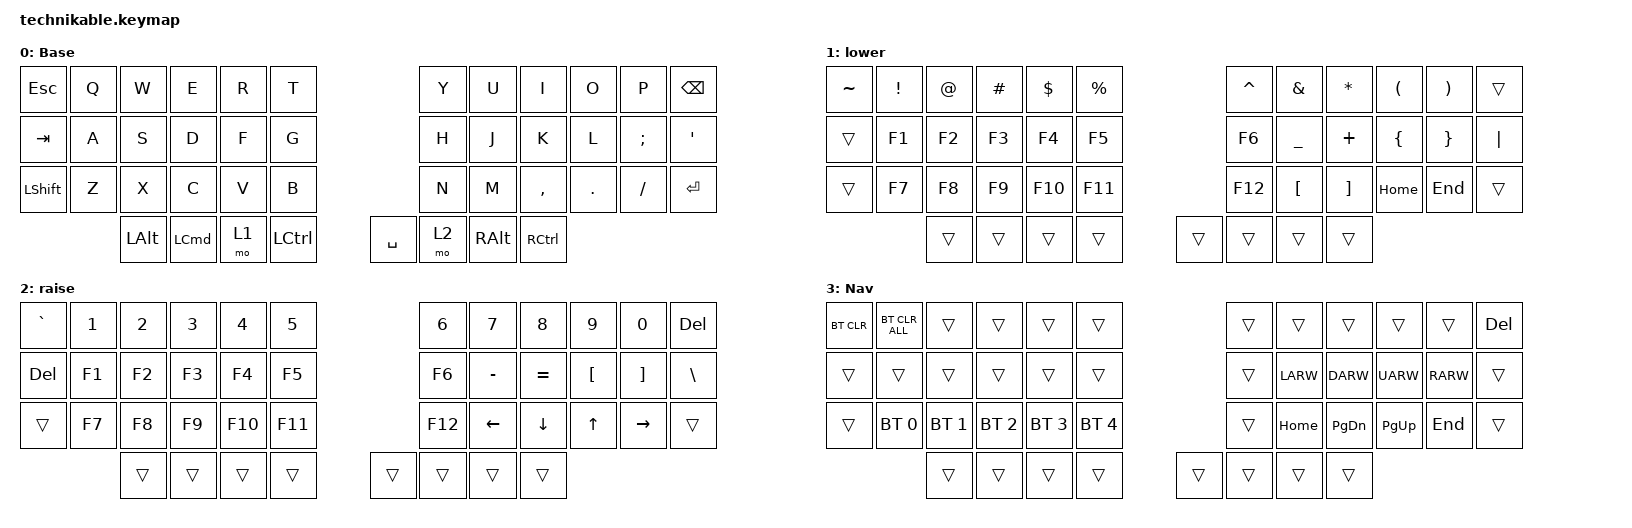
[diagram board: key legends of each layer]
/*
 * Copyright (c) 2022 Pete Johanson
 *
 * SPDX-License-Identifier: MIT
 */

#include <behaviors.dtsi>
#include <dt-bindings/zmk/bt.h>
#include <dt-bindings/zmk/keys.h>

#define BAS_L 0
#define NAV_L 1
#define NUM_L 2
#define SYM_L 3

// Using layer taps on thumbs, having quick tap as well helps w/ repeating space/backspace

&lt { quick_tap_ms = <200>; };

/ {
    chosen { zmk,matrix_transform = &ortho_transform; };

    conditional_layers {
        compatible = "zmk,conditional-layers";

        adj {
            if-layers = <1 2>;
            then-layer = <3>;
        };
    };

    keymap {
        compatible = "zmk,keymap";

        base_layer {
            label = "Base";
            bindings = <
&kp ESC    &kp Q  &kp W         &kp E     &kp R  &kp T                        &kp Y  &kp U     &kp I      &kp O    &kp P     &kp BACKSPACE
&kp TAB    &kp A  &kp S         &kp D     &kp F  &kp G                        &kp H  &kp J     &kp K      &kp L    &kp SEMI  &kp SINGLE_QUOTE
&kp LSHFT  &kp Z  &kp X         &kp C     &kp V  &kp B                        &kp N  &kp M     &kp COMMA  &kp DOT  &kp FSLH  &kp RET
                  &kp LEFT_ALT  &kp LCMD  &mo 1  &kp LEFT_CONTROL  &kp SPACE  &mo 2  &kp RALT  &kp RCTRL
            >;
        };

        lower {
            bindings = <
&kp TILDE  &kp EXCLAMATION  &kp AT_SIGN  &kp HASH  &kp DOLLAR  &kp PRCNT          &kp CARET  &kp AMPS          &kp ASTRK  &kp LPAR  &kp RPAR  &trans
&trans     &kp F1           &kp F2       &kp F3    &kp F4      &kp F5             &kp F6     &kp UNDER         &kp PLUS   &kp LBRC  &kp RBRC  &kp PIPE
&trans     &kp F7           &kp F8       &kp F9    &kp F10     &kp F11            &kp F12    &kp LEFT_BRACKET  &kp RBKT   &kp HOME  &kp END   &trans
                            &trans       &trans    &trans      &trans     &trans  &trans     &trans            &trans
            >;
        };

        raise {
            bindings = <
&kp GRAVE   &kp NUMBER_1  &kp NUMBER_2  &kp NUMBER_3  &kp NUMBER_4  &kp N5           &kp NUMBER_6  &kp N7     &kp N8     &kp N9            &kp N0             &kp DELETE
&kp DELETE  &kp F1        &kp F2        &kp F3        &kp F4        &kp F5           &kp F6        &kp MINUS  &kp EQUAL  &kp LEFT_BRACKET  &kp RIGHT_BRACKET  &kp BACKSLASH
&trans      &kp F7        &kp F8        &kp F9        &kp F10       &kp F11          &kp F12       &kp LEFT   &kp DOWN   &kp UP_ARROW      &kp RIGHT          &trans
                          &trans        &trans        &trans        &trans   &trans  &trans        &trans     &trans
            >;
        };

        Nav {
            label = "Nav";
            bindings = <
&bt BT_CLR  &bt BT_CLR_ALL  &trans        &trans        &trans        &trans                &trans  &trans    &trans     &trans     &trans    &kp DEL
&trans      &trans          &trans        &trans        &trans        &trans                &trans  &kp LARW  &kp DARW   &kp UARW   &kp RARW  &trans
&trans      &bt BT_SEL 0    &bt BT_SEL 1  &bt BT_SEL 2  &bt BT_SEL 3  &bt BT_SEL 4          &trans  &kp HOME  &kp PG_DN  &kp PG_UP  &kp END   &trans
                            &trans        &trans        &trans        &trans        &trans  &trans  &trans    &trans
            >;
        };
    };
};
